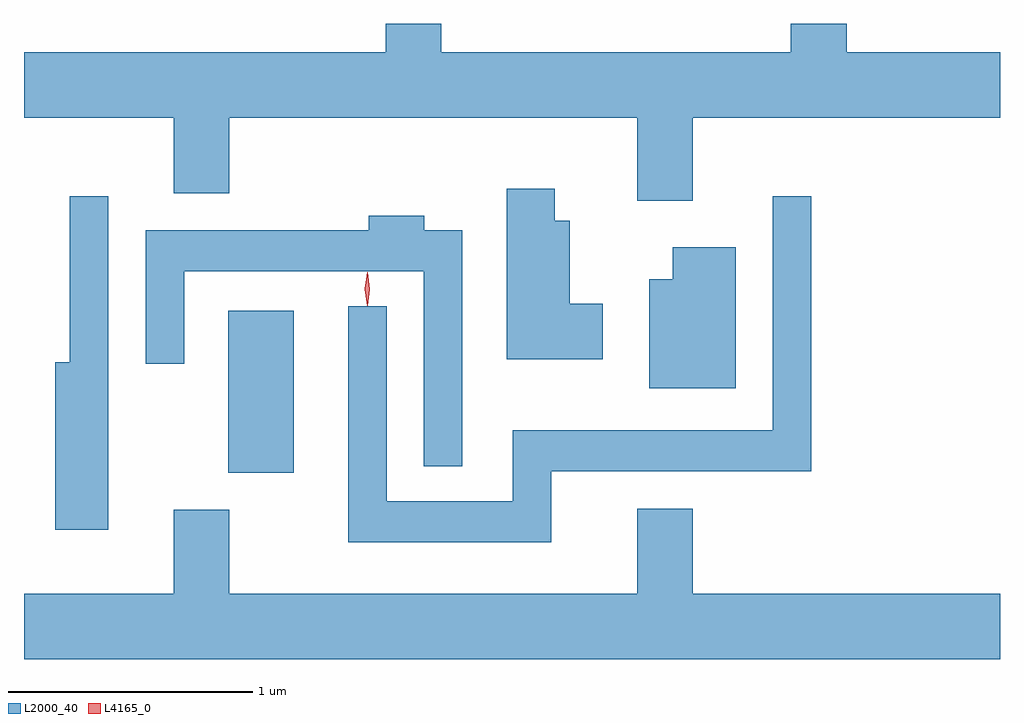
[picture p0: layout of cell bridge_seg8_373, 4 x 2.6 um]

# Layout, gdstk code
import gdstk
lib = gdstk.Library(unit=1e-6, precision=1e-09)
def R(c, l, rs):  # rectangles x0, y0, x1, y1
    for r in rs: c.add(gdstk.rectangle(r[:2], r[2:], *l))
def P(c, l, *ps):  # polygons
    for p in ps: c.add(gdstk.Polygon(p, *l))
L2000_40 = (2000, 40)
L4165_0 = (4165, 0)

bridge_seg8_373 = lib.new_cell('bridge_seg8_373')
R(bridge_seg8_373, L2000_40, [(687.386,1879.361,687.654,1880.024)])
P(bridge_seg8_373, L2000_40, [(689.289,1880.816),(690.548,1880.816),(690.548,1881.084),(689.919,1881.084),(689.919,1881.201),(689.691,1881.201),(689.691,1881.084),(688.259,1881.084),(688.259,1881.201),(688.031,1881.201),(688.031,1881.084),(686.548,1881.084),(686.548,1880.816),(687.161,1880.816),(687.161,1880.506),(687.389,1880.506),(687.389,1880.816),(689.061,1880.816),(689.061,1880.476),(689.289,1880.476)],
  [(688.919,1880.054),(688.784,1880.054),(688.784,1880.394),(688.724,1880.394),(688.724,1880.524),(688.526,1880.524),(688.526,1879.826),(688.919,1879.826)],
  [(686.894,1880.493),(686.736,1880.493),(686.736,1879.814),(686.676,1879.814),(686.676,1879.126),(686.894,1879.126)],
  [(688.709,1879.366),(689.774,1879.366),(689.774,1880.493),(689.616,1880.493),(689.616,1879.534),(688.551,1879.534),(688.551,1879.244),(688.034,1879.244),(688.034,1880.043),(687.876,1880.043),(687.876,1879.076),(688.709,1879.076)],
  [(688.344,1880.354),(688.189,1880.354),(688.189,1880.414),(687.961,1880.414),(687.961,1880.354),(687.046,1880.354),(687.046,1879.808),(687.204,1879.808),(687.204,1880.186),(688.186,1880.186),(688.186,1879.388),(688.344,1879.388)],
  [(689.464,1880.284),(689.206,1880.284),(689.206,1880.154),(689.111,1880.154),(689.111,1879.706),(689.464,1879.706)],
  [(690.548,1878.864),(689.289,1878.864),(689.289,1879.214),(689.061,1879.214),(689.061,1878.864),(687.389,1878.864),(687.389,1879.209),(687.161,1879.209),(687.161,1878.864),(686.548,1878.864),(686.548,1878.596),(690.548,1878.596)])
P(bridge_seg8_373, L4165_0, [(687.954,1880.047),(687.954,1880.048),(687.944,1880.114),(687.954,1880.18),(687.954,1880.18),(687.955,1880.18),(687.964,1880.114),(687.955,1880.048)],
  [(687.954,1880.044),(687.945,1880.113),(687.954,1880.182),(687.955,1880.183),(687.956,1880.182),(687.965,1880.113),(687.956,1880.044),(687.955,1880.044)])

lib.write_gds('bridge_seg8_373.gds')
